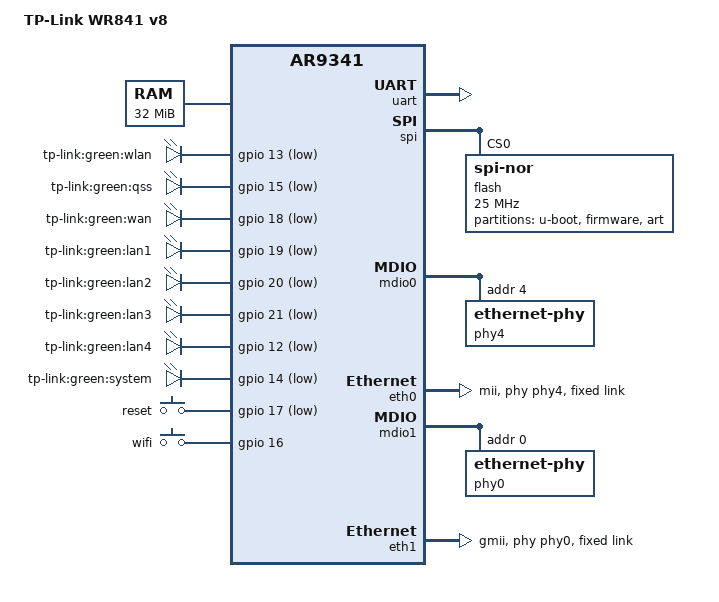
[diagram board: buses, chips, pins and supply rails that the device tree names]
// SPDX-License-Identifier: GPL-2.0
/dts-v1/;

#include <dt-bindings/gpio/gpio.h>
#include <dt-bindings/input/input.h>

#include "ar9341.dtsi"

/ {
	model = "TP-Link WR841 v8";
	compatible = "tplink,tl-wr841-v8";

	memory@0 {
		device_type = "memory";
		reg = <0x0 0x2000000>;
	};

	leds {
		compatible = "gpio-leds";

		wlan {
			label = "tp-link:green:wlan";
			gpios = <&gpio 13 GPIO_ACTIVE_LOW>;
			default-state = "off";
		};

		qss {
			label = "tp-link:green:qss";
			gpios = <&gpio 15 GPIO_ACTIVE_LOW>;
			default-state = "off";
		};

		wan {
			label = "tp-link:green:wan";
			gpios = <&gpio 18 GPIO_ACTIVE_LOW>;
			default-state = "off";
		};

		lan1 {
			label = "tp-link:green:lan1";
			gpios = <&gpio 19 GPIO_ACTIVE_LOW>;
			default-state = "off";
		};

		lan2 {
			label = "tp-link:green:lan2";
			gpios = <&gpio 20 GPIO_ACTIVE_LOW>;
			default-state = "off";
		};

		lan3 {
			label = "tp-link:green:lan3";
			gpios = <&gpio 21 GPIO_ACTIVE_LOW>;
			default-state = "off";
		};

		lan4 {
			label = "tp-link:green:lan4";
			gpios = <&gpio 12 GPIO_ACTIVE_LOW>;
			default-state = "off";
		};

		system {
			label = "tp-link:green:system";
			gpios = <&gpio 14 GPIO_ACTIVE_LOW>;
			default-state = "off";
		};
	};

	keys {
		compatible = "gpio-keys-polled";
		#address-cells = <1>;
		#size-cells = <0>;
		poll-interval = <20>;

		button@0 {
			label = "reset";
			linux,code = <KEY_RESTART>;
			gpios = <&gpio 17 GPIO_ACTIVE_LOW>;
			debounce-interval = <60>;
		};

		button@1 {
			label = "wifi";
			linux,code = <KEY_RFKILL>;
			gpios = <&gpio 16 GPIO_ACTIVE_HIGH>;
			debounce-interval = <60>;
		};
	};
};

&ref {
	clock-frequency = <25000000>;
};

&uart {
	status = "okay";
};

&gpio {
	status = "okay";
};

&spi {
	num-chipselects = <1>;
	num-cs = <1>;

	status = "okay";

	flash@0 {
		#address-cells = <1>;
		#size-cells = <1>;
		compatible = "jedec,spi-nor";
		reg = <0>;
		spi-max-frequency = <25000000>;

		partitions {
			compatible = "fixed-partitions";
			#address-cells = <1>;
			#size-cells = <1>;

			uboot:	partition@0 {
				label = "u-boot";
				reg = <0x000000 0x020000>;
				read-only;
			};

			partition@20000 {
				label = "firmware";
				reg = <0x020000 0x3d0000>;
			};

			partition@3f0000 {
				label = "art";
				reg = <0x3f0000 0x010000>;
				read-only;
			};
		};
	};
};

&mdio0 {
	status = "okay";

	//regmap = <&eth1>;
	phy-mask = <0x0>;

	phy4: ethernet-phy@4 {
		reg = <4>;
		phy-mode = "mii";
	};
};

&eth0 {
	status = "okay";

	mtd-mac-address = <&uboot 0x1fc00>;
	mtd-mac-address-increment = <1>;

	phy-mode = "mii";
	phy-handle = <&phy4>;

	fixed-link {
		speed = <100>;
		full-duplex;
	};
};

&mdio1 {
        status = "okay";

        phy0: ethernet-phy@0 {
                reg = <0>;
                phy-mode = "gmii";
        };
};

&eth1 {
        status = "okay";

	mtd-mac-address = <&uboot 0x1fc00>;

	phy-mode = "gmii";
	phy-handle = <&phy0>;

	fixed-link {
		speed = <1000>;
		full-duplex;
	};

	gmac-config {
		device = <&gmac>;

		/* switch-phy-addr-swap = <1>; */
		switch-phy-swap = <1>;
	};
};
